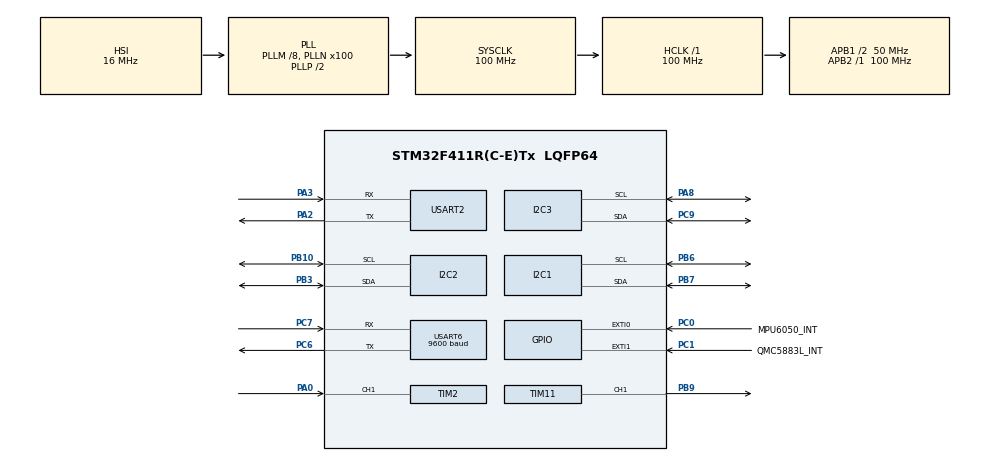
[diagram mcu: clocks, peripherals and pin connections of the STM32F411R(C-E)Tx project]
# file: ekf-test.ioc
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Dma.I2C1_RX.0.Direction=DMA_PERIPH_TO_MEMORY
Dma.I2C1_RX.0.FIFOMode=DMA_FIFOMODE_DISABLE
Dma.I2C1_RX.0.Instance=DMA1_Stream0
Dma.I2C1_RX.0.MemDataAlignment=DMA_MDATAALIGN_BYTE
Dma.I2C1_RX.0.MemInc=DMA_MINC_ENABLE
Dma.I2C1_RX.0.Mode=DMA_NORMAL
Dma.I2C1_RX.0.PeriphDataAlignment=DMA_PDATAALIGN_BYTE
Dma.I2C1_RX.0.PeriphInc=DMA_PINC_DISABLE
Dma.I2C1_RX.0.Priority=DMA_PRIORITY_LOW
Dma.I2C1_TX.1.Direction=DMA_MEMORY_TO_PERIPH
Dma.I2C1_TX.1.FIFOMode=DMA_FIFOMODE_DISABLE
Dma.I2C1_TX.1.Instance=DMA1_Stream1
Dma.I2C1_TX.1.MemDataAlignment=DMA_MDATAALIGN_BYTE
Dma.I2C1_TX.1.MemInc=DMA_MINC_ENABLE
Dma.I2C1_TX.1.Mode=DMA_NORMAL
Dma.I2C1_TX.1.PeriphDataAlignment=DMA_PDATAALIGN_BYTE
Dma.I2C1_TX.1.PeriphInc=DMA_PINC_DISABLE
Dma.I2C1_TX.1.Priority=DMA_PRIORITY_LOW
Dma.I2C2_RX.2.Direction=DMA_PERIPH_TO_MEMORY
Dma.I2C2_RX.2.FIFOMode=DMA_FIFOMODE_DISABLE
Dma.I2C2_RX.2.Instance=DMA1_Stream3
Dma.I2C2_RX.2.MemDataAlignment=DMA_MDATAALIGN_BYTE
Dma.I2C2_RX.2.MemInc=DMA_MINC_ENABLE
Dma.I2C2_RX.2.Mode=DMA_NORMAL
Dma.I2C2_RX.2.PeriphDataAlignment=DMA_PDATAALIGN_BYTE
Dma.I2C2_RX.2.PeriphInc=DMA_PINC_DISABLE
Dma.I2C2_RX.2.Priority=DMA_PRIORITY_LOW
Dma.I2C2_TX.3.Direction=DMA_MEMORY_TO_PERIPH
Dma.I2C2_TX.3.FIFOMode=DMA_FIFOMODE_DISABLE
Dma.I2C2_TX.3.Instance=DMA1_Stream7
Dma.I2C2_TX.3.MemDataAlignment=DMA_MDATAALIGN_BYTE
Dma.I2C2_TX.3.MemInc=DMA_MINC_ENABLE
Dma.I2C2_TX.3.Mode=DMA_NORMAL
Dma.I2C2_TX.3.PeriphDataAlignment=DMA_PDATAALIGN_BYTE
Dma.I2C2_TX.3.PeriphInc=DMA_PINC_DISABLE
Dma.I2C2_TX.3.Priority=DMA_PRIORITY_LOW
Dma.I2C3_RX.4.Direction=DMA_PERIPH_TO_MEMORY
Dma.I2C3_RX.4.FIFOMode=DMA_FIFOMODE_DISABLE
Dma.I2C3_RX.4.Instance=DMA1_Stream2
Dma.I2C3_RX.4.MemDataAlignment=DMA_MDATAALIGN_BYTE
Dma.I2C3_RX.4.MemInc=DMA_MINC_ENABLE
Dma.I2C3_RX.4.Mode=DMA_NORMAL
Dma.I2C3_RX.4.PeriphDataAlignment=DMA_PDATAALIGN_BYTE
Dma.I2C3_RX.4.PeriphInc=DMA_PINC_DISABLE
Dma.I2C3_RX.4.Priority=DMA_PRIORITY_LOW
Dma.I2C3_TX.5.Direction=DMA_MEMORY_TO_PERIPH
Dma.I2C3_TX.5.FIFOMode=DMA_FIFOMODE_DISABLE
Dma.I2C3_TX.5.Instance=DMA1_Stream4
Dma.I2C3_TX.5.MemDataAlignment=DMA_MDATAALIGN_BYTE
Dma.I2C3_TX.5.MemInc=DMA_MINC_ENABLE
Dma.I2C3_TX.5.Mode=DMA_NORMAL
Dma.I2C3_TX.5.PeriphDataAlignment=DMA_PDATAALIGN_BYTE
Dma.I2C3_TX.5.PeriphInc=DMA_PINC_DISABLE
Dma.I2C3_TX.5.Priority=DMA_PRIORITY_LOW
Dma.Request0=I2C1_RX
Dma.Request1=I2C1_TX
Dma.Request2=I2C2_RX
Dma.Request3=I2C2_TX
Dma.Request4=I2C3_RX
Dma.Request5=I2C3_TX
Dma.Request6=USART2_TX
Dma.Request7=USART2_RX
Dma.USART2_RX.7.Direction=DMA_PERIPH_TO_MEMORY
Dma.USART2_RX.7.FIFOMode=DMA_FIFOMODE_DISABLE
Dma.USART2_RX.7.Instance=DMA1_Stream5
Dma.USART2_RX.7.MemDataAlignment=DMA_MDATAALIGN_BYTE
Dma.USART2_RX.7.MemInc=DMA_MINC_ENABLE
Dma.USART2_RX.7.Mode=DMA_NORMAL
Dma.USART2_RX.7.PeriphDataAlignment=DMA_PDATAALIGN_BYTE
Dma.USART2_RX.7.PeriphInc=DMA_PINC_DISABLE
Dma.USART2_RX.7.Priority=DMA_PRIORITY_LOW
Dma.USART2_TX.6.Direction=DMA_MEMORY_TO_PERIPH
Dma.USART2_TX.6.FIFOMode=DMA_FIFOMODE_DISABLE
Dma.USART2_TX.6.Instance=DMA1_Stream6
Dma.USART2_TX.6.MemDataAlignment=DMA_MDATAALIGN_BYTE
Dma.USART2_TX.6.MemInc=DMA_MINC_ENABLE
Dma.USART2_TX.6.Mode=DMA_NORMAL
Dma.USART2_TX.6.PeriphDataAlignment=DMA_PDATAALIGN_BYTE
Dma.USART2_TX.6.PeriphInc=DMA_PINC_DISABLE
Dma.USART2_TX.6.Priority=DMA_PRIORITY_LOW
I2C1.I2C_Mode=I2C_Fast
I2C2.I2C_Mode=I2C_Fast
I2C3.I2C_Mode=I2C_Fast
Mcu.Family=STM32F4
Mcu.Name=STM32F411R(C-E)Tx
Mcu.Package=LQFP64
NVIC.DMA1_Stream0_IRQn=true\:0\:0\:false\:false\:true\:false\:true\:true
NVIC.DMA1_Stream1_IRQn=true\:0\:0\:false\:false\:true\:false\:true\:true
NVIC.DMA1_Stream2_IRQn=true\:0\:0\:false\:false\:true\:false\:true\:true
NVIC.DMA1_Stream3_IRQn=true\:0\:0\:false\:false\:true\:false\:true\:true
NVIC.DMA1_Stream4_IRQn=true\:0\:0\:false\:false\:true\:false\:true\:true
NVIC.DMA1_Stream5_IRQn=true\:0\:0\:false\:false\:true\:false\:true\:true
NVIC.DMA1_Stream6_IRQn=true\:0\:0\:false\:false\:true\:false\:true\:true
NVIC.DMA1_Stream7_IRQn=true\:0\:0\:false\:false\:true\:false\:true\:true
NVIC.EXTI0_IRQn=true\:0\:0\:false\:false\:true\:true\:true\:true
NVIC.EXTI1_IRQn=true\:0\:0\:false\:false\:true\:true\:true\:true
NVIC.PriorityGroup=NVIC_PRIORITYGROUP_4
NVIC.TIM1_UP_TIM10_IRQn=true\:0\:0\:false\:false\:true\:true\:true\:true
NVIC.USART2_IRQn=true\:0\:0\:false\:false\:true\:true\:true\:true
PA0-WKUP.Signal=S_TIM2_CH1_ETR
PA2.Mode=Asynchronous
PA2.Signal=USART2_TX
PA3.Mode=Asynchronous
PA3.Signal=USART2_RX
PA8.Mode=I2C
PA8.Signal=I2C3_SCL
PB10.Mode=I2C
PB10.Signal=I2C2_SCL
PB3.Mode=I2C
PB3.Signal=I2C2_SDA
PB6.Mode=I2C
PB6.Signal=I2C1_SCL
PB7.Mode=I2C
PB7.Signal=I2C1_SDA
PB9.Signal=S_TIM11_CH1
PC0.GPIO_Label=MPU6050_INT
PC0.GPIO_ModeDefaultEXTI=GPIO_MODE_IT_RISING
PC0.Signal=GPXTI0
PC1.GPIO_Label=QMC5883L_INT
PC1.GPIO_ModeDefaultEXTI=GPIO_MODE_IT_RISING
PC1.Signal=GPXTI1
PC6.Mode=Asynchronous
PC6.Signal=USART6_TX
PC7.Mode=Asynchronous
PC7.Signal=USART6_RX
PC9.Mode=I2C
PC9.Signal=I2C3_SDA
ProjectManager.HeapSize=0x200
ProjectManager.StackSize=0x400
ProjectManager.TargetToolchain=STM32CubeIDE
RCC.48MHZClocksFreq_Value=50000000
RCC.AHBFreq_Value=100000000
RCC.APB1CLKDivider=RCC_HCLK_DIV2
RCC.APB1Freq_Value=50000000
RCC.APB1TimFreq_Value=100000000
RCC.APB2Freq_Value=100000000
RCC.APB2TimFreq_Value=100000000
RCC.CortexFreq_Value=100000000
RCC.HCLKFreq_Value=100000000
RCC.HSE_VALUE=25000000
RCC.HSI_VALUE=16000000
RCC.LSE_VALUE=32768
RCC.PLLM=8
RCC.PLLN=100
RCC.SYSCLKFreq_VALUE=100000000
RCC.SYSCLKSource=RCC_SYSCLKSOURCE_PLLCLK
RCC.VCOOutputFreq_Value=200000000
SH.S_TIM11_CH1.0=TIM11_CH1,PWM Generation1 CH1
SH.S_TIM2_CH1_ETR.0=TIM2_CH1,PWM_Input_1
TIM10.Period=10000-1
TIM10.Prescaler=500-1
TIM11.Channel=TIM_CHANNEL_1
TIM11.Period=20000-1
TIM11.Prescaler=100-1
TIM2.Prescaler=100-1
USART2.VirtualMode=VM_ASYNC
USART6.BaudRate=9600
USART6.VirtualMode=VM_ASYNC
VP_TIM10_VS_ClockSourceINT.Mode=Enable_Timer
VP_TIM11_VS_ClockSourceINT.Mode=Enable_Timer
VP_TIM2_VS_ClockSourceINT.Mode=Internal
board=custom

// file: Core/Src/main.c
/* USER CODE BEGIN Header */
/**
  ******************************************************************************
  * @file           : main.c
  * @brief          : Main program body
  ******************************************************************************
  * @attention
  *
  * Copyright (c) 2024 STMicroelectronics.
  * All rights reserved.
  *
  * This software is licensed under terms that can be found in the LICENSE file
  * in the root directory of this software component.
  * If no LICENSE file comes with this software, it is provided AS-IS.
  *
  ******************************************************************************
  */
/* USER CODE END Header */
#include "main.h"

/* USER CODE BEGIN Includes */

#include <stdio.h>
#include <stdlib.h>
#include <string.h>

#include "protocol.h"
#include "protocol_data.h"

#include "mpu6050_regs.h"
#include "qmc5883l_regs.h"
#include "bmp280_regs.h"
#include "bmp280_compensate.h"

/* USER CODE END Includes */

I2C_HandleTypeDef hi2c1;
I2C_HandleTypeDef hi2c2;
I2C_HandleTypeDef hi2c3;
DMA_HandleTypeDef hdma_i2c1_rx;
DMA_HandleTypeDef hdma_i2c1_tx;
DMA_HandleTypeDef hdma_i2c2_rx;
DMA_HandleTypeDef hdma_i2c2_tx;
DMA_HandleTypeDef hdma_i2c3_rx;
DMA_HandleTypeDef hdma_i2c3_tx;

TIM_HandleTypeDef htim2;
TIM_HandleTypeDef htim10;
TIM_HandleTypeDef htim11;

UART_HandleTypeDef huart2;
UART_HandleTypeDef huart6;
DMA_HandleTypeDef hdma_usart2_tx;
DMA_HandleTypeDef hdma_usart2_rx;

void SystemClock_Config(void);
static void MX_GPIO_Init(void);
static void MX_DMA_Init(void);
static void MX_I2C1_Init(void);
static void MX_I2C2_Init(void);
static void MX_I2C3_Init(void);
static void MX_USART2_UART_Init(void);
static void MX_USART6_UART_Init(void);
static void MX_TIM2_Init(void);
static void MX_TIM10_Init(void);
static void MX_TIM11_Init(void);

/* USER CODE BEGIN 0 */

void bmp280_write(uint8_t address, uint8_t value) {
	HAL_I2C_Mem_Write(&hi2c3, BMP280_ADDR<<1, address, 1, &value, 1, 100);
}

void bmp280_init() {
	bmp280_write(BMP280_REG_RESET,
		BMP280_RESET_VALUE
	);

	HAL_Delay(100);

	bmp280_write(BMP280_REG_CTRL_MEAS,
		BMP280_CTRL_TEMP_OVERSAMPLING_2 |
		BMP280_CTRL_PRESS_OVERSAMPLING_16 |
		BMP280_CTRL_MODE_NORMAL
	);

	bmp280_write(BMP280_REG_CONFIG,
		BMP280_CONFIG_STANDBY_0_5MS |
		BMP280_CONFIG_FILTER_X16 |
		BMP280_CONFIG_SPI_3WIRE_DISABLE
	);

	uint8_t buffer[24] = {0};

	HAL_I2C_Mem_Read(&hi2c3, BMP280_ADDR<<1, BMP280_REG_CALIB00, 1, buffer, sizeof(buffer), 100);

	dig_T1 = (((uint16_t)buffer[1])<<8) | buffer[0];
	dig_T2 = (((int16_t)buffer[3])<<8) | buffer[2];
	dig_T3 = (((int16_t)buffer[5])<<8) | buffer[4];
	dig_P1 = (((uint16_t)buffer[7])<<8) | buffer[6];
	dig_P2 = (((int16_t)buffer[9])<<8) | buffer[8];
	dig_P3 = (((int16_t)buffer[11])<<8) | buffer[10];
	dig_P4 = (((int16_t)buffer[13])<<8) | buffer[12];
	dig_P5 = (((int16_t)buffer[15])<<8) | buffer[14];
	dig_P6 = (((int16_t)buffer[17])<<8) | buffer[16];
	dig_P7 = (((int16_t)buffer[19])<<8) | buffer[18];
	dig_P8 = (((int16_t)buffer[21])<<8) | buffer[20];
	dig_P9 = (((int16_t)buffer[23])<<8) | buffer[22];
}

void bmp280_read(float *pressure, const uint8_t *buffer) {
	const int32_t raw_temperature  = (((int32_t)buffer[3])<<12) | (((int32_t)buffer[4])<<4) | (((int32_t)buffer[5])>>4);
	const int32_t raw_pressure     = (((int32_t)buffer[0])<<12) | (((int32_t)buffer[1])<<4) | (((int32_t)buffer[2])>>4);

	float temp = bmp280_compensate_T_int32(raw_temperature)/100.f;	// *C
	*pressure  = bmp280_compensate_P_int64(raw_pressure)/256.f;		// Pa

	(void)temp;
}

void qmc5883l_write(uint8_t address, uint8_t value) {
	HAL_I2C_Mem_Write(&hi2c2, QMC5883L_ADDR<<1, address, 1, &value, 1, 100);
}

void qmc5883l_init() {
	qmc5883l_write(QMC5883L_REG_CONTROL_2,
		QMC5883L_CONFIG_2_SOFT_RST
	);

	HAL_Delay(100);

	qmc5883l_write(QMC5883L_REG_CONTROL_1,
		QMC5883L_CONFIG_1_MODE_CONTINOUS |
		QMC5883L_CONFIG_1_ODR_200HZ |
		QMC5883L_CONFIG_1_OSR_512 |
		QMC5883L_CONFIG_1_RNG_2G
	);

	qmc5883l_write(QMC5883L_REG_CONTROL_2,
		QMC5883L_CONFIG_2_INT_ENB_ENABLE
	);

	qmc5883l_write(QMC5883L_REG_SET_RESET,
		QMC5883L_SET_RESET_RECOMMENDED
	);
}

void qmc5883l_read(float *mag, const uint8_t *buffer) {
	const int16_t raw_x = (((int16_t)buffer[1])<<8) | buffer[0];
	const int16_t raw_y = (((int16_t)buffer[3])<<8) | buffer[2];
	const int16_t raw_z = (((int16_t)buffer[5])<<8) | buffer[4];

	const float gain = 2.f/(1<<15);

	mag[0] = raw_x*gain;
	mag[1] = raw_y*gain;
	mag[2] = raw_z*gain;
}

void mpu6050_write(uint8_t address, uint8_t value) {
	HAL_I2C_Mem_Write(&hi2c1, MPU6050_ADDR<<1, address, 1, &value, 1, 100);
}

void mpu6050_init() {
	mpu6050_write(MPU6050_REG_PWR_MGMT_1,
		MPU6050_PWR_MGMT_1_DEVICE_RESET
	);

	HAL_Delay(100);

	mpu6050_write(MPU6050_REG_SIGNAL_PATH_RESET,
		MPU6050_SIGNAL_PATH_RESET_GYRO |
		MPU6050_SIGNAL_PATH_RESET_ACCEL |
		MPU6050_SIGNAL_PATH_RESET_TEMP
	);

	HAL_Delay(100);

	mpu6050_write(MPU6050_REG_INT_ENABLE,
		MPU6050_INT_ENABLE_FIFO_OVERLOW_DISABLE |
		MPU6050_INT_ENABLE_I2C_MST_INT_DISABLE |
		MPU6050_INT_ENABLE_DATA_RDY_ENABLE
	);

	mpu6050_write(MPU6050_REG_INT_PIN_CFG,
		MPU6050_INT_PIN_CFG_LEVEL_ACTIVE_HIGH |
		MPU6050_INT_PIN_CFG_PUSH_PULL |
		MPU6050_INT_PIN_CFG_PULSE |
		MPU6050_INT_PIN_CFG_STATUS_CLEAR_AFTER_ANY |
		MPU6050_INT_PIN_CFG_FSYNC_DISABLE |
		MPU6050_INT_PIN_CFG_I2C_BYPASS_DISABLE
	);

	mpu6050_write(MPU6050_REG_PWR_MGMT_1,
		MPU6050_PWR_MGMT_1_TEMP_DIS |
		MPU6050_PWR_MGMT_1_CLOCK_INTERNAL
	);

	mpu6050_write(MPU6050_REG_CONFIG,
		MPU6050_CONFIG_EXT_SYNC_DISABLED |
		MPU6050_CONFIG_DLPF_SETTING_6
	);

	mpu6050_write(MPU6050_REG_ACCEL_CONFIG,
		MPU6050_ACCEL_CONFIG_RANGE_4G
	);

	mpu6050_write(MPU6050_REG_GYRO_CONFIG,
		MPU6050_GYRO_CONFIG_RANGE_500DPS
	);

	mpu6050_write(MPU6050_REG_SMPLRT_DIV, 4);
}

void mpu6050_read(float *acc, float *gyr, const uint8_t *buffer) {
	{
		const int16_t raw_x = (((int16_t)buffer[8])<<8) | buffer[9];
		const int16_t raw_y = (((int16_t)buffer[10])<<8) | buffer[11];
		const int16_t raw_z = (((int16_t)buffer[12])<<8) | buffer[13];

		const float gain = 65.5f;
		const float dps_to_rads = 0.017453292519943f;

		gyr[0] = raw_x*dps_to_rads/gain;
		gyr[1] = raw_y*dps_to_rads/gain;
		gyr[2] = raw_z*dps_to_rads/gain;
	}

	{
		const int16_t raw_x = (((int16_t)buffer[0])<<8) | buffer[1];
		const int16_t raw_y = (((int16_t)buffer[2])<<8) | buffer[3];
		const int16_t raw_z = (((int16_t)buffer[4])<<8) | buffer[5];

		const float gain = 8192.f;
		const float g_to_ms2 = 9.81f;

		acc[0] = raw_x*g_to_ms2/gain;
		acc[1] = raw_y*g_to_ms2/gain;
		acc[2] = raw_z*g_to_ms2/gain;
	}
}

uint8_t imu_buffer[14];
uint8_t mag_buffer[6];
uint8_t bar_buffer[6];
volatile uint8_t imu_ready = 0;
volatile uint8_t mag_ready = 0;
volatile uint8_t bar_ready = 0;

void HAL_GPIO_EXTI_Callback(uint16_t GPIO_Pin) {
	if(GPIO_Pin==MPU6050_INT_Pin) {
		// imu
		HAL_I2C_Mem_Read_DMA(&hi2c1, MPU6050_ADDR<<1, MPU6050_REG_ACCEL_XOUT_H, 1, imu_buffer, sizeof(imu_buffer));
	} else if(GPIO_Pin==QMC5883L_INT_Pin) {
		// mag
		HAL_I2C_Mem_Read_DMA(&hi2c2, QMC5883L_ADDR<<1, QMC5883L_REG_DATA_OUTPUT_X_LSB, 1, mag_buffer, sizeof(mag_buffer));
	}
}

void HAL_TIM_PeriodElapsedCallback(TIM_HandleTypeDef *htim) {
	if(htim==&htim10) {
		// bar
		HAL_I2C_Mem_Read_DMA(&hi2c3, BMP280_ADDR<<1, BMP280_REG_PRESS_MSB, 1, bar_buffer, sizeof(bar_buffer));
	}
}

void HAL_I2C_MemRxCpltCallback(I2C_HandleTypeDef *hi2c) {
	if(hi2c==&hi2c1) {
		// imu
		imu_ready = 1;
	} else if(hi2c==&hi2c2) {
		// mag
		mag_ready = 1;
	} else if(hi2c==&hi2c3) {
		// bar
		bar_ready = 1;
	}
}

/* USER CODE END 0 */

int main(void)
{

  /* MCU Configuration--------------------------------------------------------*/

  /* Reset of all peripherals, Initializes the Flash interface and the Systick. */
  HAL_Init();

  /* Configure the system clock */
  SystemClock_Config();

  /* Initialize all configured peripherals */
  MX_GPIO_Init();
  MX_DMA_Init();
  MX_I2C1_Init();
  MX_I2C2_Init();
  MX_I2C3_Init();
  MX_USART2_UART_Init();
  MX_USART6_UART_Init();
  MX_TIM2_Init();
  MX_TIM10_Init();
  MX_TIM11_Init();

  /* Infinite loop */
  /* USER CODE BEGIN WHILE */

	bmp280_init();
	qmc5883l_init();
	mpu6050_init();

	HAL_TIM_Base_Start_IT(&htim10);

	__HAL_TIM_SET_COMPARE(&htim11, TIM_CHANNEL_1, 10);
	HAL_TIM_PWM_Start(&htim11, TIM_CHANNEL_1);
	HAL_TIM_IC_Start(&htim2, TIM_CHANNEL_1);
	HAL_TIM_IC_Start(&htim2, TIM_CHANNEL_2);

	uint8_t message_buffer[1024];
	protocol_readings_t readings = {0};

	uint32_t last = 0;

    while(1) {

    	if(imu_ready) {
    		imu_ready = 0;
			mpu6050_read(readings.accelerometer, readings.gyroscope, imu_buffer);
			readings.valid.accelerometer = 1;
			readings.valid.gyroscope = 1;
    	}

    	if(mag_ready) {
    		mag_ready = 0;
    		qmc5883l_read(readings.magnetometer, mag_buffer);
    		readings.valid.magnetometer = 1;
    	}

    	if(bar_ready) {
    		bar_ready = 0;
    		bmp280_read(&readings.barometer, bar_buffer);
    		readings.valid.barometer = 1;
    	}

    	readings.rangefinder = 0.00017015f*HAL_TIM_ReadCapturedValue(&htim2, TIM_CHANNEL_2);
		readings.valid.rangefinder = 1;

    	if((HAL_GetTick() - last)>50) {
    		last = HAL_GetTick();

			const protocol_message_t message = {
				.id = PROTOCOL_ID_READINGS,
				.payload = &readings,
				.size = sizeof(readings)
			};

			const uint16_t size = protocol_encode(message_buffer, &message);

			readings.valid_all = 0;

			HAL_UART_Transmit_DMA(&huart2, message_buffer, size);
    	}

    /* USER CODE END WHILE */

  }
}

void SystemClock_Config(void)
{
  RCC_OscInitTypeDef RCC_OscInitStruct = {0};
  RCC_ClkInitTypeDef RCC_ClkInitStruct = {0};

  /** Configure the main internal regulator output voltage
  */
  __HAL_RCC_PWR_CLK_ENABLE();
  __HAL_PWR_VOLTAGESCALING_CONFIG(PWR_REGULATOR_VOLTAGE_SCALE1);

  /** Initializes the RCC Oscillators according to the specified parameters
  * in the RCC_OscInitTypeDef structure.
  */
  RCC_OscInitStruct.OscillatorType = RCC_OSCILLATORTYPE_HSI;
  RCC_OscInitStruct.HSIState = RCC_HSI_ON;
  RCC_OscInitStruct.HSICalibrationValue = RCC_HSICALIBRATION_DEFAULT;
  RCC_OscInitStruct.PLL.PLLState = RCC_PLL_ON;
  RCC_OscInitStruct.PLL.PLLSource = RCC_PLLSOURCE_HSI;
  RCC_OscInitStruct.PLL.PLLM = 8;
  RCC_OscInitStruct.PLL.PLLN = 100;
  RCC_OscInitStruct.PLL.PLLP = RCC_PLLP_DIV2;
  RCC_OscInitStruct.PLL.PLLQ = 4;
  if (HAL_RCC_OscConfig(&RCC_OscInitStruct) != HAL_OK)
  {
    Error_Handler();
  }

  /** Initializes the CPU, AHB and APB buses clocks
  */
  RCC_ClkInitStruct.ClockType = RCC_CLOCKTYPE_HCLK|RCC_CLOCKTYPE_SYSCLK
                              |RCC_CLOCKTYPE_PCLK1|RCC_CLOCKTYPE_PCLK2;
  RCC_ClkInitStruct.SYSCLKSource = RCC_SYSCLKSOURCE_PLLCLK;
  RCC_ClkInitStruct.AHBCLKDivider = RCC_SYSCLK_DIV1;
  RCC_ClkInitStruct.APB1CLKDivider = RCC_HCLK_DIV2;
  RCC_ClkInitStruct.APB2CLKDivider = RCC_HCLK_DIV1;

  if (HAL_RCC_ClockConfig(&RCC_ClkInitStruct, FLASH_LATENCY_3) != HAL_OK)
  {
    Error_Handler();
  }
}

static void MX_I2C1_Init(void)
{

  hi2c1.Instance = I2C1;
  hi2c1.Init.ClockSpeed = 400000;
  hi2c1.Init.DutyCycle = I2C_DUTYCYCLE_2;
  hi2c1.Init.OwnAddress1 = 0;
  hi2c1.Init.AddressingMode = I2C_ADDRESSINGMODE_7BIT;
  hi2c1.Init.DualAddressMode = I2C_DUALADDRESS_DISABLE;
  hi2c1.Init.OwnAddress2 = 0;
  hi2c1.Init.GeneralCallMode = I2C_GENERALCALL_DISABLE;
  hi2c1.Init.NoStretchMode = I2C_NOSTRETCH_DISABLE;
  if (HAL_I2C_Init(&hi2c1) != HAL_OK)
  {
    Error_Handler();
  }

}

static void MX_I2C2_Init(void)
{

  hi2c2.Instance = I2C2;
  hi2c2.Init.ClockSpeed = 400000;
  hi2c2.Init.DutyCycle = I2C_DUTYCYCLE_2;
  hi2c2.Init.OwnAddress1 = 0;
  hi2c2.Init.AddressingMode = I2C_ADDRESSINGMODE_7BIT;
  hi2c2.Init.DualAddressMode = I2C_DUALADDRESS_DISABLE;
  hi2c2.Init.OwnAddress2 = 0;
  hi2c2.Init.GeneralCallMode = I2C_GENERALCALL_DISABLE;
  hi2c2.Init.NoStretchMode = I2C_NOSTRETCH_DISABLE;
  if (HAL_I2C_Init(&hi2c2) != HAL_OK)
  {
    Error_Handler();
  }

}

static void MX_I2C3_Init(void)
{

  hi2c3.Instance = I2C3;
  hi2c3.Init.ClockSpeed = 400000;
  hi2c3.Init.DutyCycle = I2C_DUTYCYCLE_2;
  hi2c3.Init.OwnAddress1 = 0;
  hi2c3.Init.AddressingMode = I2C_ADDRESSINGMODE_7BIT;
  hi2c3.Init.DualAddressMode = I2C_DUALADDRESS_DISABLE;
  hi2c3.Init.OwnAddress2 = 0;
  hi2c3.Init.GeneralCallMode = I2C_GENERALCALL_DISABLE;
  hi2c3.Init.NoStretchMode = I2C_NOSTRETCH_DISABLE;
  if (HAL_I2C_Init(&hi2c3) != HAL_OK)
  {
    Error_Handler();
  }

}

static void MX_TIM2_Init(void)
{

  TIM_ClockConfigTypeDef sClockSourceConfig = {0};
  TIM_SlaveConfigTypeDef sSlaveConfig = {0};
  TIM_IC_InitTypeDef sConfigIC = {0};
  TIM_MasterConfigTypeDef sMasterConfig = {0};

  htim2.Instance = TIM2;
  htim2.Init.Prescaler = 100-1;
  htim2.Init.CounterMode = TIM_COUNTERMODE_UP;
  htim2.Init.Period = 4294967295;
  htim2.Init.ClockDivision = TIM_CLOCKDIVISION_DIV1;
  htim2.Init.AutoReloadPreload = TIM_AUTORELOAD_PRELOAD_DISABLE;
  if (HAL_TIM_Base_Init(&htim2) != HAL_OK)
  {
    Error_Handler();
  }
  sClockSourceConfig.ClockSource = TIM_CLOCKSOURCE_INTERNAL;
  if (HAL_TIM_ConfigClockSource(&htim2, &sClockSourceConfig) != HAL_OK)
  {
    Error_Handler();
  }
  if (HAL_TIM_IC_Init(&htim2) != HAL_OK)
  {
    Error_Handler();
  }
  sSlaveConfig.SlaveMode = TIM_SLAVEMODE_RESET;
  sSlaveConfig.InputTrigger = TIM_TS_TI1FP1;
  sSlaveConfig.TriggerPolarity = TIM_INPUTCHANNELPOLARITY_RISING;
  sSlaveConfig.TriggerPrescaler = TIM_ICPSC_DIV1;
  sSlaveConfig.TriggerFilter = 0;
  if (HAL_TIM_SlaveConfigSynchro(&htim2, &sSlaveConfig) != HAL_OK)
  {
    Error_Handler();
  }
  sConfigIC.ICPolarity = TIM_INPUTCHANNELPOLARITY_RISING;
  sConfigIC.ICSelection = TIM_ICSELECTION_DIRECTTI;
  sConfigIC.ICPrescaler = TIM_ICPSC_DIV1;
  sConfigIC.ICFilter = 0;
  if (HAL_TIM_IC_ConfigChannel(&htim2, &sConfigIC, TIM_CHANNEL_1) != HAL_OK)
  {
    Error_Handler();
  }
  sConfigIC.ICPolarity = TIM_INPUTCHANNELPOLARITY_FALLING;
  sConfigIC.ICSelection = TIM_ICSELECTION_INDIRECTTI;
  if (HAL_TIM_IC_ConfigChannel(&htim2, &sConfigIC, TIM_CHANNEL_2) != HAL_OK)
  {
    Error_Handler();
  }
  sMasterConfig.MasterOutputTrigger = TIM_TRGO_RESET;
  sMasterConfig.MasterSlaveMode = TIM_MASTERSLAVEMODE_DISABLE;
  if (HAL_TIMEx_MasterConfigSynchronization(&htim2, &sMasterConfig) != HAL_OK)
  {
    Error_Handler();
  }

}

static void MX_TIM10_Init(void)
{

  htim10.Instance = TIM10;
  htim10.Init.Prescaler = 500-1;
  htim10.Init.CounterMode = TIM_COUNTERMODE_UP;
  htim10.Init.Period = 10000-1;
  htim10.Init.ClockDivision = TIM_CLOCKDIVISION_DIV1;
  htim10.Init.AutoReloadPreload = TIM_AUTORELOAD_PRELOAD_DISABLE;
  if (HAL_TIM_Base_Init(&htim10) != HAL_OK)
  {
    Error_Handler();
  }

}

static void MX_TIM11_Init(void)
{

  TIM_OC_InitTypeDef sConfigOC = {0};

  htim11.Instance = TIM11;
  htim11.Init.Prescaler = 100-1;
  htim11.Init.CounterMode = TIM_COUNTERMODE_UP;
  htim11.Init.Period = 20000-1;
  htim11.Init.ClockDivision = TIM_CLOCKDIVISION_DIV1;
  htim11.Init.AutoReloadPreload = TIM_AUTORELOAD_PRELOAD_DISABLE;
  if (HAL_TIM_Base_Init(&htim11) != HAL_OK)
  {
    Error_Handler();
  }
  if (HAL_TIM_PWM_Init(&htim11) != HAL_OK)
  {
    Error_Handler();
  }
  sConfigOC.OCMode = TIM_OCMODE_PWM1;
  sConfigOC.Pulse = 0;
  sConfigOC.OCPolarity = TIM_OCPOLARITY_HIGH;
  sConfigOC.OCFastMode = TIM_OCFAST_DISABLE;
  if (HAL_TIM_PWM_ConfigChannel(&htim11, &sConfigOC, TIM_CHANNEL_1) != HAL_OK)
  {
    Error_Handler();
  }
  HAL_TIM_MspPostInit(&htim11);

}

static void MX_USART2_UART_Init(void)
{

  huart2.Instance = USART2;
  huart2.Init.BaudRate = 115200;
  huart2.Init.WordLength = UART_WORDLENGTH_8B;
  huart2.Init.StopBits = UART_STOPBITS_1;
  huart2.Init.Parity = UART_PARITY_NONE;
  huart2.Init.Mode = UART_MODE_TX_RX;
  huart2.Init.HwFlowCtl = UART_HWCONTROL_NONE;
  huart2.Init.OverSampling = UART_OVERSAMPLING_16;
  if (HAL_UART_Init(&huart2) != HAL_OK)
  {
    Error_Handler();
  }

}

static void MX_USART6_UART_Init(void)
{

  huart6.Instance = USART6;
  huart6.Init.BaudRate = 9600;
  huart6.Init.WordLength = UART_WORDLENGTH_8B;
  huart6.Init.StopBits = UART_STOPBITS_1;
  huart6.Init.Parity = UART_PARITY_NONE;
  huart6.Init.Mode = UART_MODE_TX_RX;
  huart6.Init.HwFlowCtl = UART_HWCONTROL_NONE;
  huart6.Init.OverSampling = UART_OVERSAMPLING_16;
  if (HAL_UART_Init(&huart6) != HAL_OK)
  {
    Error_Handler();
  }

}

static void MX_DMA_Init(void)
{

  /* DMA controller clock enable */
  __HAL_RCC_DMA1_CLK_ENABLE();

  /* DMA interrupt init */
  /* DMA1_Stream0_IRQn interrupt configuration */
  HAL_NVIC_SetPriority(DMA1_Stream0_IRQn, 0, 0);
  HAL_NVIC_EnableIRQ(DMA1_Stream0_IRQn);
  /* DMA1_Stream1_IRQn interrupt configuration */
  HAL_NVIC_SetPriority(DMA1_Stream1_IRQn, 0, 0);
  HAL_NVIC_EnableIRQ(DMA1_Stream1_IRQn);
  /* DMA1_Stream2_IRQn interrupt configuration */
  HAL_NVIC_SetPriority(DMA1_Stream2_IRQn, 0, 0);
  HAL_NVIC_EnableIRQ(DMA1_Stream2_IRQn);
  /* DMA1_Stream3_IRQn interrupt configuration */
  HAL_NVIC_SetPriority(DMA1_Stream3_IRQn, 0, 0);
  HAL_NVIC_EnableIRQ(DMA1_Stream3_IRQn);
  /* DMA1_Stream4_IRQn interrupt configuration */
  HAL_NVIC_SetPriority(DMA1_Stream4_IRQn, 0, 0);
  HAL_NVIC_EnableIRQ(DMA1_Stream4_IRQn);
  /* DMA1_Stream5_IRQn interrupt configuration */
  HAL_NVIC_SetPriority(DMA1_Stream5_IRQn, 0, 0);
  HAL_NVIC_EnableIRQ(DMA1_Stream5_IRQn);
  /* DMA1_Stream6_IRQn interrupt configuration */
  HAL_NVIC_SetPriority(DMA1_Stream6_IRQn, 0, 0);
  HAL_NVIC_EnableIRQ(DMA1_Stream6_IRQn);
  /* DMA1_Stream7_IRQn interrupt configuration */
  HAL_NVIC_SetPriority(DMA1_Stream7_IRQn, 0, 0);
  HAL_NVIC_EnableIRQ(DMA1_Stream7_IRQn);

}

static void MX_GPIO_Init(void)
{
  GPIO_InitTypeDef GPIO_InitStruct = {0};

  /* GPIO Ports Clock Enable */
  __HAL_RCC_GPIOC_CLK_ENABLE();
  __HAL_RCC_GPIOA_CLK_ENABLE();
  __HAL_RCC_GPIOB_CLK_ENABLE();

  /*Configure GPIO pins : MPU6050_INT_Pin QMC5883L_INT_Pin */
  GPIO_InitStruct.Pin = MPU6050_INT_Pin|QMC5883L_INT_Pin;
  GPIO_InitStruct.Mode = GPIO_MODE_IT_RISING;
  GPIO_InitStruct.Pull = GPIO_NOPULL;
  HAL_GPIO_Init(GPIOC, &GPIO_InitStruct);

  /* EXTI interrupt init*/
  HAL_NVIC_SetPriority(EXTI0_IRQn, 0, 0);
  HAL_NVIC_EnableIRQ(EXTI0_IRQn);

  HAL_NVIC_SetPriority(EXTI1_IRQn, 0, 0);
  HAL_NVIC_EnableIRQ(EXTI1_IRQn);

}

void Error_Handler(void)
{
  __disable_irq();
  while (1)
  {
  }
}
